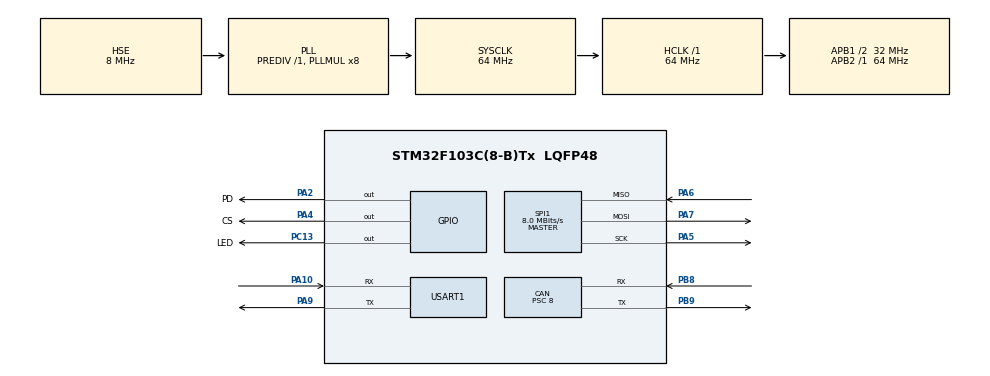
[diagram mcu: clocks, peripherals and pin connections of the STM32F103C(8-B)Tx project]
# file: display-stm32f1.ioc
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CAN.ABOM=ENABLE
CAN.BS1=CAN_BS1_13TQ
CAN.BS2=CAN_BS2_2TQ
CAN.CalculateBaudRate=250000
CAN.CalculateTimeBit=4000.00
CAN.CalculateTimeQuantum=250.0
CAN.NART=ENABLE
CAN.Prescaler=8
IWDG.Prescaler=IWDG_PRESCALER_128
IWDG.Reload=2500
Mcu.Family=STM32F1
Mcu.Name=STM32F103C(8-B)Tx
Mcu.Package=LQFP48
NVIC.PriorityGroup=NVIC_PRIORITYGROUP_4
NVIC.TIM1_UP_IRQn=true\:1\:0\:true\:false\:true\:true\:true
NVIC.TIM4_IRQn=true\:2\:0\:true\:false\:true\:true\:true
NVIC.USB_LP_CAN1_RX0_IRQn=true\:1\:0\:true\:false\:true\:true\:true
PA10.Mode=Asynchronous
PA10.Signal=USART1_RX
PA13.Mode=Serial_Wire
PA13.Signal=SYS_JTMS-SWDIO
PA14.Mode=Serial_Wire
PA14.Signal=SYS_JTCK-SWCLK
PA2.GPIO_Label=PD
PA2.Signal=GPIO_Output
PA4.GPIO_Label=CS
PA4.Signal=GPIO_Output
PA5.GPIO_Speed=GPIO_SPEED_FREQ_HIGH
PA5.Mode=Full_Duplex_Master
PA5.Signal=SPI1_SCK
PA6.Mode=Full_Duplex_Master
PA6.Signal=SPI1_MISO
PA7.GPIO_Speed=GPIO_SPEED_FREQ_HIGH
PA7.Mode=Full_Duplex_Master
PA7.Signal=SPI1_MOSI
PA9.Mode=Asynchronous
PA9.Signal=USART1_TX
PB8.Mode=CAN_Activate
PB8.Signal=CAN_RX
PB9.Mode=CAN_Activate
PB9.Signal=CAN_TX
PC13-TAMPER-RTC.GPIO_Label=LED
PC13-TAMPER-RTC.Signal=GPIO_Output
PD0-OSC_IN.Mode=HSE-External-Oscillator
PD0-OSC_IN.Signal=RCC_OSC_IN
PD1-OSC_OUT.Mode=HSE-External-Oscillator
PD1-OSC_OUT.Signal=RCC_OSC_OUT
ProjectManager.HeapSize=0x200
ProjectManager.StackSize=0x400
ProjectManager.TargetToolchain=STM32CubeIDE
RCC.ADCPresc=RCC_ADCPCLK2_DIV6
RCC.AHBFreq_Value=64000000
RCC.APB1CLKDivider=RCC_HCLK_DIV2
RCC.APB1Freq_Value=32000000
RCC.APB1TimFreq_Value=64000000
RCC.APB2Freq_Value=64000000
RCC.APB2TimFreq_Value=64000000
RCC.DATA_CACHE_ENABLE=1
RCC.HCLKFreq_Value=64000000
RCC.INSTRUCTION_CACHE_ENABLE=1
RCC.PLLMUL=RCC_PLL_MUL8
RCC.PLLSourceVirtual=RCC_PLLSOURCE_HSE
RCC.PWR_Regulator_Voltage_Scale=PWR_REGULATOR_VOLTAGE_SCALE1
RCC.RTCClockSelection=RCC_RTCCLKSOURCE_LSE
RCC.SYSCLKFreq_VALUE=64000000
RCC.SYSCLKSource=RCC_SYSCLKSOURCE_PLLCLK
RCC.USBFreq_Value=64000000
SPI1.BaudRatePrescaler=SPI_BAUDRATEPRESCALER_8
SPI1.CalculateBaudRate=8.0 MBits/s
SPI1.DataSize=SPI_DATASIZE_8BIT
SPI1.Direction=SPI_DIRECTION_2LINES
SPI1.Mode=SPI_MODE_MASTER
SPI1.VirtualType=VM_MASTER
TIM1.Period=1000
TIM1.Prescaler=64-1
TIM4.Period=1000
TIM4.Prescaler=64 - 1
USART1.VirtualMode=VM_ASYNC
VP_CRC_VS_CRC.Mode=CRC_Activate
VP_IWDG_VS_IWDG.Mode=IWDG_Activate
VP_TIM1_VS_ClockSourceINT.Mode=Internal
VP_TIM4_VS_ClockSourceINT.Mode=Internal
board=custom

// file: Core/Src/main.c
/* USER CODE BEGIN Header */
/**
 ******************************************************************************
 * @file           : main.c
 * @brief          : Main program body
 ******************************************************************************
 * @attention
 *
 * <h2><center>&copy; Copyright (c) 2021 STMicroelectronics.
 * All rights reserved.</center></h2>
 *
 * This software component is licensed by ST under BSD 3-Clause license,
 * the "License"; You may not use this file except in compliance with the
 * License. You may obtain a copy of the License at:
 *                        opensource.org/licenses/BSD-3-Clause
 *
 ******************************************************************************
 */
/* USER CODE END Header */
#include "main.h"

/* USER CODE BEGIN Includes */
#include "launch_control.h"
#include "data_control.h"
#include "Can_Communication.h"
#include "Can_Start.h"
#include "print.h"
//#include "pn_can_protocol.h"

// Local Libraries
/* USER CODE END Includes */

CAN_HandleTypeDef hcan;

CRC_HandleTypeDef hcrc;

IWDG_HandleTypeDef hiwdg;

SPI_HandleTypeDef hspi1;

TIM_HandleTypeDef htim1;
TIM_HandleTypeDef htim4;

UART_HandleTypeDef huart1;

/* USER CODE BEGIN PV */

Gpu_Hal_Context_t host, *phost;
uint32_t fontAddr;

//extern int display_memory_leaked;
char *seven_days_of_a_week[7] = { "S", "M", "T", "W", "T", "F", "S" };
uint8_t reset_request_msg[8] = { RESET_REQUEST_MSG };

/* USER CODE END PV */

void SystemClock_Config(void);
static void MX_GPIO_Init(void);
static void MX_SPI1_Init(void);
static void MX_CAN_Init(void);
static void MX_TIM4_Init(void);
static void MX_IWDG_Init(void);
static void MX_CRC_Init(void);
static void MX_USART1_UART_Init(void);
static void MX_TIM1_Init(void);

/* USER CODE BEGIN 0 */
int test_CAN_handler(uint32_t can_ID, const uint8_t data[], uint8_t length) {
	return transmit_can_message(&hcan, can_ID, (uint8_t*) data, length);
}
/* USER CODE END 0 */

int main(void)
{
  /* USER CODE BEGIN 1 */

#if 0
	__disable_irq();						// Disable Interrupt
	if (HAL_RCC_DeInit() != HAL_OK) {		// Disable RCC
	}
	if (HAL_DeInit() != HAL_OK) {			// Disable HAL
	}

	SysTick->CTRL = 0;						// Disable SYSTICK
	SysTick->LOAD = 0;
	SysTick->VAL = 0;

	// Disable HCAN
	if (HAL_CAN_Stop(&hcan) != HAL_OK) {
	}
	if (HAL_CAN_DeactivateNotification(&hcan, CAN_IT_RX_FIFO0_MSG_PENDING) != HAL_OK) {
	}
	if (HAL_CAN_DeactivateNotification(&hcan, CAN_IT_RX_FIFO0_MSG_PENDING) != HAL_OK) {
	}

	HAL_CAN_MspDeInit(&hcan);				// Disable HCAN
	HAL_SPI_MspDeInit(&hspi1);				// Disable SPI
	HAL_UART_MspDeInit(&huart1);			// Disable UART
	__enable_irq();							// Enable Interrupt
#endif
  /* USER CODE END 1 */

  /* MCU Configuration--------------------------------------------------------*/

  /* Reset of all peripherals, Initializes the Flash interface and the Systick. */
  HAL_Init();

  /* Configure the system clock */
  SystemClock_Config();

  /* Initialize all configured peripherals */
  MX_GPIO_Init();
  MX_SPI1_Init();
  MX_CAN_Init();
  MX_TIM4_Init();
  MX_IWDG_Init();
  MX_CRC_Init();
  MX_USART1_UART_Init();
  MX_TIM1_Init();
  /* USER CODE BEGIN 2 */

//	Start_Can_Communication();
//	HAL_TIM_Base_Start_IT(&htim4);

#if 1

	phost			= &host;
	series			= 0;			//	Project Series
	UI_lastState	= 0;
	dot_count		= 1;
	OTA_est_time	= 255;

	// Initialize CAN and its timer
	Start_Can_Communication();
	HAL_TIM_Base_Start_IT(&htim4);

	// Send CAN message once display resets
	transmit_can_message(&hcan, RESET_REQUEST, reset_request_msg, sizeof(reset_request_msg));

	// Initialize Display Driver
	Display_Backlight_Power_Recycle();
//	initialize_graphics_controller();
//	App_Common_Init(&host);

	r_value = 0;
	g_value = 250;
	b_value = 200;

	uint8_t incFlag		= 0;
	brightness_level	= 128;

//	print("Inside int_main\n");

#endif

  /* USER CODE END 2 */

  /* Infinite loop */
  /* USER CODE BEGIN WHILE */
	HAL_TIM_Base_Start_IT(&htim1);
	while (1) {
    /* USER CODE END WHILE */

    /* USER CODE BEGIN 3 */
#if 1
//		ota_available_flag = 0;
//		headlight_status = 2;
//		tier1_cmd_can = STATS;
//		tier1_cmd_can = DRIVE_MODE;
//		tier2_cmd_can = INSTALLING_FIRMWARE;
//		controller_temperature = 50;
//		sprint(dash_temperature_value, "%d", controller_temperature);
//		call_status = INCOMING;
//		ui_mode = LIGHT_MODE;
//		stand_status = 1;
//		right_sidelight_status = 1;
//		left_sidelight_status = 1;
//		network_strength_value = 3;
#endif

#if 1
		if (incFlag == 0) {

			r_value += 5;
			g_value -= 5;
			b_value += 1;
			if ((r_value >= 250 || g_value <= 0) && b_value >= 250) {
				incFlag = 1;
			}
		}

		if (incFlag == 1) {

			r_value -= 5;
			g_value += 5;
			b_value -= 1;
			if ((r_value <= 0 || g_value >= 250) && b_value <= 200) {
				incFlag = 0;
			}
		}

//		cmd_read_register = Gpu_Hal_Rd16(phost, REG_CMD_READ);
//		print("REG_CMD_READ value :: 0x%x\n", Gpu_Hal_Rd16(phost, REG_CMD_READ));

//		if (Gpu_Hal_Rd16(phost, REG_CMD_READ) == 0xfff){
//			print("--------------------------- COPROCESSOR ERROR ----------------------------\n");
//		}

		Launch_UI();
#endif

		HAL_IWDG_Refresh(&hiwdg);		// 3 seconds WatchDog
	}
  /* USER CODE END 3 */
}

void SystemClock_Config(void)
{
  RCC_OscInitTypeDef RCC_OscInitStruct = {0};
  RCC_ClkInitTypeDef RCC_ClkInitStruct = {0};

  /** Initializes the RCC Oscillators according to the specified parameters
  * in the RCC_OscInitTypeDef structure.
  */
  RCC_OscInitStruct.OscillatorType = RCC_OSCILLATORTYPE_LSI|RCC_OSCILLATORTYPE_HSE;
  RCC_OscInitStruct.HSEState = RCC_HSE_ON;
  RCC_OscInitStruct.HSEPredivValue = RCC_HSE_PREDIV_DIV1;
  RCC_OscInitStruct.HSIState = RCC_HSI_ON;
  RCC_OscInitStruct.LSIState = RCC_LSI_ON;
  RCC_OscInitStruct.PLL.PLLState = RCC_PLL_ON;
  RCC_OscInitStruct.PLL.PLLSource = RCC_PLLSOURCE_HSE;
  RCC_OscInitStruct.PLL.PLLMUL = RCC_PLL_MUL8;
  if (HAL_RCC_OscConfig(&RCC_OscInitStruct) != HAL_OK)
  {
    Error_Handler();
  }
  /** Initializes the CPU, AHB and APB buses clocks
  */
  RCC_ClkInitStruct.ClockType = RCC_CLOCKTYPE_HCLK|RCC_CLOCKTYPE_SYSCLK
                              |RCC_CLOCKTYPE_PCLK1|RCC_CLOCKTYPE_PCLK2;
  RCC_ClkInitStruct.SYSCLKSource = RCC_SYSCLKSOURCE_PLLCLK;
  RCC_ClkInitStruct.AHBCLKDivider = RCC_SYSCLK_DIV1;
  RCC_ClkInitStruct.APB1CLKDivider = RCC_HCLK_DIV2;
  RCC_ClkInitStruct.APB2CLKDivider = RCC_HCLK_DIV1;

  if (HAL_RCC_ClockConfig(&RCC_ClkInitStruct, FLASH_LATENCY_2) != HAL_OK)
  {
    Error_Handler();
  }
}

static void MX_CAN_Init(void)
{

  hcan.Instance = CAN1;
  hcan.Init.Prescaler = 8;
  hcan.Init.Mode = CAN_MODE_NORMAL;
  hcan.Init.SyncJumpWidth = CAN_SJW_1TQ;
  hcan.Init.TimeSeg1 = CAN_BS1_13TQ;
  hcan.Init.TimeSeg2 = CAN_BS2_2TQ;
  hcan.Init.TimeTriggeredMode = DISABLE;
  hcan.Init.AutoBusOff = ENABLE;
  hcan.Init.AutoWakeUp = DISABLE;
  hcan.Init.AutoRetransmission = ENABLE;
  hcan.Init.ReceiveFifoLocked = DISABLE;
  hcan.Init.TransmitFifoPriority = DISABLE;
  if (HAL_CAN_Init(&hcan) != HAL_OK)
  {
    Error_Handler();
  }

}

static void MX_CRC_Init(void)
{

  hcrc.Instance = CRC;
  if (HAL_CRC_Init(&hcrc) != HAL_OK)
  {
    Error_Handler();
  }

}

static void MX_IWDG_Init(void)
{

  hiwdg.Instance = IWDG;
  hiwdg.Init.Prescaler = IWDG_PRESCALER_128;
  hiwdg.Init.Reload = 2500;
  if (HAL_IWDG_Init(&hiwdg) != HAL_OK)
  {
    Error_Handler();
  }

}

static void MX_SPI1_Init(void)
{

  /* SPI1 parameter configuration*/
  hspi1.Instance = SPI1;
  hspi1.Init.Mode = SPI_MODE_MASTER;
  hspi1.Init.Direction = SPI_DIRECTION_2LINES;
  hspi1.Init.DataSize = SPI_DATASIZE_8BIT;
  hspi1.Init.CLKPolarity = SPI_POLARITY_LOW;
  hspi1.Init.CLKPhase = SPI_PHASE_1EDGE;
  hspi1.Init.NSS = SPI_NSS_SOFT;
  hspi1.Init.BaudRatePrescaler = SPI_BAUDRATEPRESCALER_8;
  hspi1.Init.FirstBit = SPI_FIRSTBIT_MSB;
  hspi1.Init.TIMode = SPI_TIMODE_DISABLE;
  hspi1.Init.CRCCalculation = SPI_CRCCALCULATION_DISABLE;
  hspi1.Init.CRCPolynomial = 10;
  if (HAL_SPI_Init(&hspi1) != HAL_OK)
  {
    Error_Handler();
  }

}

static void MX_TIM1_Init(void)
{

  TIM_ClockConfigTypeDef sClockSourceConfig = {0};
  TIM_MasterConfigTypeDef sMasterConfig = {0};

  htim1.Instance = TIM1;
  htim1.Init.Prescaler = 64-1;
  htim1.Init.CounterMode = TIM_COUNTERMODE_UP;
  htim1.Init.Period = 1000;
  htim1.Init.ClockDivision = TIM_CLOCKDIVISION_DIV1;
  htim1.Init.RepetitionCounter = 0;
  htim1.Init.AutoReloadPreload = TIM_AUTORELOAD_PRELOAD_DISABLE;
  if (HAL_TIM_Base_Init(&htim1) != HAL_OK)
  {
    Error_Handler();
  }
  sClockSourceConfig.ClockSource = TIM_CLOCKSOURCE_INTERNAL;
  if (HAL_TIM_ConfigClockSource(&htim1, &sClockSourceConfig) != HAL_OK)
  {
    Error_Handler();
  }
  sMasterConfig.MasterOutputTrigger = TIM_TRGO_RESET;
  sMasterConfig.MasterSlaveMode = TIM_MASTERSLAVEMODE_DISABLE;
  if (HAL_TIMEx_MasterConfigSynchronization(&htim1, &sMasterConfig) != HAL_OK)
  {
    Error_Handler();
  }

}

static void MX_TIM4_Init(void)
{

  TIM_ClockConfigTypeDef sClockSourceConfig = {0};
  TIM_MasterConfigTypeDef sMasterConfig = {0};

  htim4.Instance = TIM4;
  htim4.Init.Prescaler = 64 - 1;
  htim4.Init.CounterMode = TIM_COUNTERMODE_UP;
  htim4.Init.Period = 1000;
  htim4.Init.ClockDivision = TIM_CLOCKDIVISION_DIV1;
  htim4.Init.AutoReloadPreload = TIM_AUTORELOAD_PRELOAD_DISABLE;
  if (HAL_TIM_Base_Init(&htim4) != HAL_OK)
  {
    Error_Handler();
  }
  sClockSourceConfig.ClockSource = TIM_CLOCKSOURCE_INTERNAL;
  if (HAL_TIM_ConfigClockSource(&htim4, &sClockSourceConfig) != HAL_OK)
  {
    Error_Handler();
  }
  sMasterConfig.MasterOutputTrigger = TIM_TRGO_RESET;
  sMasterConfig.MasterSlaveMode = TIM_MASTERSLAVEMODE_DISABLE;
  if (HAL_TIMEx_MasterConfigSynchronization(&htim4, &sMasterConfig) != HAL_OK)
  {
    Error_Handler();
  }

}

static void MX_USART1_UART_Init(void)
{

  huart1.Instance = USART1;
  huart1.Init.BaudRate = 115200;
  huart1.Init.WordLength = UART_WORDLENGTH_8B;
  huart1.Init.StopBits = UART_STOPBITS_1;
  huart1.Init.Parity = UART_PARITY_NONE;
  huart1.Init.Mode = UART_MODE_TX_RX;
  huart1.Init.HwFlowCtl = UART_HWCONTROL_NONE;
  huart1.Init.OverSampling = UART_OVERSAMPLING_16;
  if (HAL_UART_Init(&huart1) != HAL_OK)
  {
    Error_Handler();
  }

}

static void MX_GPIO_Init(void)
{
  GPIO_InitTypeDef GPIO_InitStruct = {0};

  /* GPIO Ports Clock Enable */
  __HAL_RCC_GPIOC_CLK_ENABLE();
  __HAL_RCC_GPIOD_CLK_ENABLE();
  __HAL_RCC_GPIOA_CLK_ENABLE();
  __HAL_RCC_GPIOB_CLK_ENABLE();

  /*Configure GPIO pin Output Level */
  HAL_GPIO_WritePin(LED_GPIO_Port, LED_Pin, GPIO_PIN_RESET);

  /*Configure GPIO pin Output Level */
  HAL_GPIO_WritePin(GPIOA, PD_Pin|CS_Pin, GPIO_PIN_RESET);

  /*Configure GPIO pin : LED_Pin */
  GPIO_InitStruct.Pin = LED_Pin;
  GPIO_InitStruct.Mode = GPIO_MODE_OUTPUT_PP;
  GPIO_InitStruct.Pull = GPIO_NOPULL;
  GPIO_InitStruct.Speed = GPIO_SPEED_FREQ_LOW;
  HAL_GPIO_Init(LED_GPIO_Port, &GPIO_InitStruct);

  /*Configure GPIO pins : PD_Pin CS_Pin */
  GPIO_InitStruct.Pin = PD_Pin|CS_Pin;
  GPIO_InitStruct.Mode = GPIO_MODE_OUTPUT_PP;
  GPIO_InitStruct.Pull = GPIO_NOPULL;
  GPIO_InitStruct.Speed = GPIO_SPEED_FREQ_LOW;
  HAL_GPIO_Init(GPIOA, &GPIO_InitStruct);

}

/* USER CODE BEGIN 4 */
// UART initialize for using printf
#if 0
#ifdef __GNUC__
int __io_putchar(int ch)
#else
int fputc(int ch, FILE *f)
#endif
{
	HAL_UART_Transmit(&huart1, (uint8_t*) &ch, 1, HAL_MAX_DELAY);
	return ch;
}
#endif

/* USER CODE END 4 */

void Error_Handler(void)
{
	__disable_irq();
	while (1) {
	}
}

/************************ (C) COPYRIGHT STMicroelectronics *****END OF FILE****/
